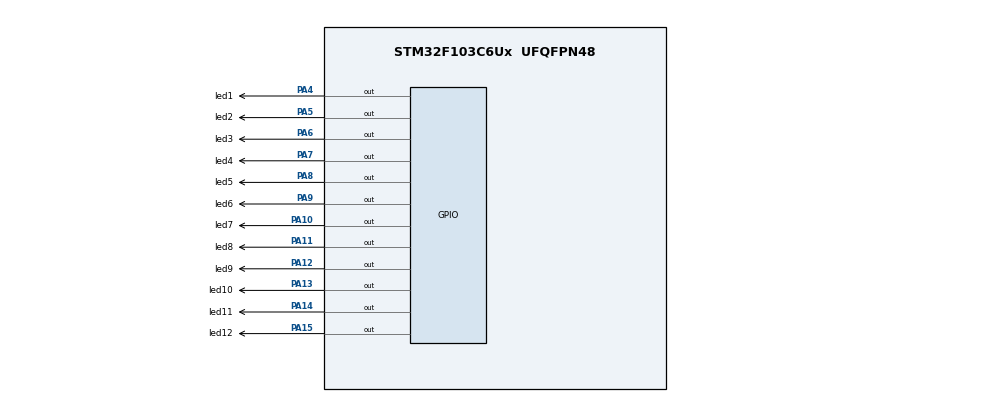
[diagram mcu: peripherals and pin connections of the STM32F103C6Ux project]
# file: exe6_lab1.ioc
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Mcu.Family=STM32F1
Mcu.Name=STM32F103C6Ux
Mcu.Package=UFQFPN48
NVIC.PriorityGroup=NVIC_PRIORITYGROUP_4
PA10.GPIO_Label=led7
PA10.Signal=GPIO_Output
PA11.GPIO_Label=led8
PA11.Signal=GPIO_Output
PA12.GPIO_Label=led9
PA12.Signal=GPIO_Output
PA13.GPIO_Label=led10
PA13.Signal=GPIO_Output
PA14.GPIO_Label=led11
PA14.Signal=GPIO_Output
PA15.GPIO_Label=led12
PA15.Signal=GPIO_Output
PA4.GPIO_Label=led1
PA4.Signal=GPIO_Output
PA5.GPIO_Label=led2
PA5.Signal=GPIO_Output
PA6.GPIO_Label=led3
PA6.Signal=GPIO_Output
PA7.GPIO_Label=led4
PA7.Signal=GPIO_Output
PA8.GPIO_Label=led5
PA8.Signal=GPIO_Output
PA9.GPIO_Label=led6
PA9.Signal=GPIO_Output
ProjectManager.HeapSize=0x200
ProjectManager.StackSize=0x400
ProjectManager.TargetToolchain=STM32CubeIDE
RCC.APB1Freq_Value=8000000
RCC.APB2Freq_Value=8000000
VP_SYS_VS_ND.Mode=No_Debug
board=custom

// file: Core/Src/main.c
/* USER CODE BEGIN Header */
/**
  ******************************************************************************
  * @file           : main.c
  * @brief          : Main program body
  ******************************************************************************
  * @attention
  *
  * <h2><center>&copy; Copyright (c) 2022 STMicroelectronics.
  * All rights reserved.</center></h2>
  *
  * This software component is licensed by ST under BSD 3-Clause license,
  * the "License"; You may not use this file except in compliance with the
  * License. You may obtain a copy of the License at:
  *                        opensource.org/licenses/BSD-3-Clause
  *
  ******************************************************************************
  */
/* USER CODE END Header */
#include "main.h"

void SystemClock_Config(void);
static void MX_GPIO_Init(void);

void clearALLClock(){
	HAL_GPIO_WritePin(led1_GPIO_Port, led1_Pin, SET);
	HAL_GPIO_WritePin(led2_GPIO_Port, led2_Pin, SET);
	HAL_GPIO_WritePin(led3_GPIO_Port, led3_Pin, SET);
	HAL_GPIO_WritePin(led4_GPIO_Port, led4_Pin, SET);
	HAL_GPIO_WritePin(led5_GPIO_Port, led5_Pin, SET);
	HAL_GPIO_WritePin(led6_GPIO_Port, led6_Pin, SET);
	HAL_GPIO_WritePin(led7_GPIO_Port, led7_Pin, SET);
	HAL_GPIO_WritePin(led8_GPIO_Port, led8_Pin, SET);
	HAL_GPIO_WritePin(led9_GPIO_Port, led9_Pin, SET);
	HAL_GPIO_WritePin(led10_GPIO_Port, led10_Pin, SET);
	HAL_GPIO_WritePin(led11_GPIO_Port, led11_Pin, SET);
	HAL_GPIO_WritePin(led12_GPIO_Port, led12_Pin, SET);
}
int main(void)
{

  /* MCU Configuration--------------------------------------------------------*/

  /* Reset of all peripherals, Initializes the Flash interface and the Systick. */
  HAL_Init();

  /* Configure the system clock */
  SystemClock_Config();

  /* Initialize all configured peripherals */
  MX_GPIO_Init();

  /* Infinite loop */
  /* USER CODE BEGIN WHILE */
  int count = 0;
  clearALLClock();
  while (1)
  {
	  if (count >= 12){
		  count = 0;
		  clearALLClock();
	  }
	  if (count == 0){
		  HAL_GPIO_TogglePin(led1_GPIO_Port, led1_Pin);
	  }
	  if (count == 1){
		  HAL_GPIO_TogglePin(led2_GPIO_Port, led2_Pin);
	  }
	  if (count == 2){
		  HAL_GPIO_TogglePin(led3_GPIO_Port, led3_Pin);
	  }
	  if (count == 3){
		  HAL_GPIO_TogglePin(led4_GPIO_Port, led4_Pin);
	  }
	  if (count == 4){
		  HAL_GPIO_TogglePin(led5_GPIO_Port, led5_Pin);
	  }
	  if (count == 5){
		  HAL_GPIO_TogglePin(led6_GPIO_Port, led6_Pin);
	  }
	  if (count == 6){
		  HAL_GPIO_TogglePin(led7_GPIO_Port, led7_Pin);
	  }
	  if (count == 7){
		  HAL_GPIO_TogglePin(led8_GPIO_Port, led8_Pin);
	  }
	  if (count == 8){
		  HAL_GPIO_TogglePin(led9_GPIO_Port, led9_Pin);
	  }
	  if (count == 9){
		  HAL_GPIO_TogglePin(led10_GPIO_Port, led10_Pin);
	  }
	  if (count == 10){
		  HAL_GPIO_TogglePin(led11_GPIO_Port, led11_Pin);
	  }
	  if (count == 11){
		  HAL_GPIO_TogglePin(led12_GPIO_Port, led12_Pin);
	  }
	  HAL_Delay(1000);
	  count++;
    /* USER CODE END WHILE */

  }
}

void SystemClock_Config(void)
{
  RCC_OscInitTypeDef RCC_OscInitStruct = {0};
  RCC_ClkInitTypeDef RCC_ClkInitStruct = {0};

  /** Initializes the RCC Oscillators according to the specified parameters
  * in the RCC_OscInitTypeDef structure.
  */
  RCC_OscInitStruct.OscillatorType = RCC_OSCILLATORTYPE_HSI;
  RCC_OscInitStruct.HSIState = RCC_HSI_ON;
  RCC_OscInitStruct.HSICalibrationValue = RCC_HSICALIBRATION_DEFAULT;
  RCC_OscInitStruct.PLL.PLLState = RCC_PLL_NONE;
  if (HAL_RCC_OscConfig(&RCC_OscInitStruct) != HAL_OK)
  {
    Error_Handler();
  }

  /** Initializes the CPU, AHB and APB buses clocks
  */
  RCC_ClkInitStruct.ClockType = RCC_CLOCKTYPE_HCLK|RCC_CLOCKTYPE_SYSCLK
                              |RCC_CLOCKTYPE_PCLK1|RCC_CLOCKTYPE_PCLK2;
  RCC_ClkInitStruct.SYSCLKSource = RCC_SYSCLKSOURCE_HSI;
  RCC_ClkInitStruct.AHBCLKDivider = RCC_SYSCLK_DIV1;
  RCC_ClkInitStruct.APB1CLKDivider = RCC_HCLK_DIV1;
  RCC_ClkInitStruct.APB2CLKDivider = RCC_HCLK_DIV1;

  if (HAL_RCC_ClockConfig(&RCC_ClkInitStruct, FLASH_LATENCY_0) != HAL_OK)
  {
    Error_Handler();
  }
}

static void MX_GPIO_Init(void)
{
  GPIO_InitTypeDef GPIO_InitStruct = {0};

  /* GPIO Ports Clock Enable */
  __HAL_RCC_GPIOA_CLK_ENABLE();

  /*Configure GPIO pin Output Level */
  HAL_GPIO_WritePin(GPIOA, led1_Pin|led2_Pin|led3_Pin|led4_Pin
                          |led5_Pin|led6_Pin|led7_Pin|led8_Pin
                          |led9_Pin|led10_Pin|led11_Pin|led12_Pin, GPIO_PIN_RESET);

  /*Configure GPIO pins : led1_Pin led2_Pin led3_Pin led4_Pin
                           led5_Pin led6_Pin led7_Pin led8_Pin
                           led9_Pin led10_Pin led11_Pin led12_Pin */
  GPIO_InitStruct.Pin = led1_Pin|led2_Pin|led3_Pin|led4_Pin
                          |led5_Pin|led6_Pin|led7_Pin|led8_Pin
                          |led9_Pin|led10_Pin|led11_Pin|led12_Pin;
  GPIO_InitStruct.Mode = GPIO_MODE_OUTPUT_PP;
  GPIO_InitStruct.Pull = GPIO_NOPULL;
  GPIO_InitStruct.Speed = GPIO_SPEED_FREQ_LOW;
  HAL_GPIO_Init(GPIOA, &GPIO_InitStruct);

}

void Error_Handler(void)
{
  __disable_irq();
  while (1)
  {
  }
}
